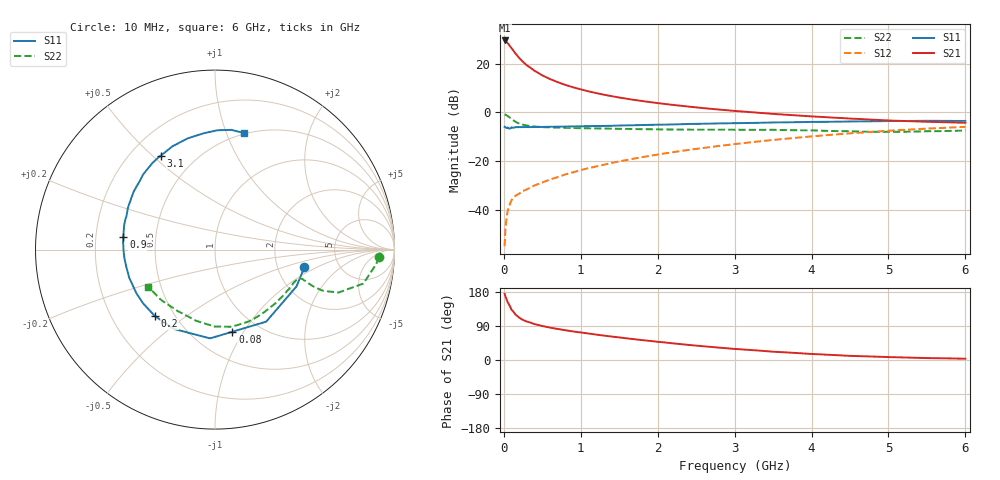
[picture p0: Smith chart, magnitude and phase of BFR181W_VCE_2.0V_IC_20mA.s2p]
! Infineon Technologies  Discrete & RF Semiconductors
! BFR181W
! VCE =  2.0 V,  IC =  20 mA
! Common Emitter S-Parameters:  Jan 2017
# GHz  S  MA  R  50
!  f  S11  S21  S12  S22
! GHz  MAG  ANG  MAG  ANG  MAG  ANG  MAG  ANG
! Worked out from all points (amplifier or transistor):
!   77 points, 10 MHz to 6 GHz, reference 50 ohm
!   highest |S21| = 29.5 dB at 10 MHz (marker M1)
!   |S21| within 3 dB of that: start of sweep to 95.91 MHz
!   unconditionally stable (mu >= 1): start of sweep to 11.37 MHz; 316.3 MHz to 2.981 GHz; 5.959 GHz to end of sweep
!   at 130 MHz: K = 0.58, MSG = 30.0 dB, |S12| = -34.9 dB
!   at 2.2 GHz: K = 1.13, MAG = 7.5 dB, |S12| = -16.3 dB
!   at 6 GHz: K = 1.00, MAG = 0.6 dB, |S12| = -5.9 dB
!   S11 on the Smith chart (normalised r, x): 10 MHz: 2.84, -0.75; 80 MHz: 0.76, -0.89; 200 MHz: 0.39, -0.39; 900 MHz: 0.32, +0.06; 3.1 GHz: 0.32, +0.53; 6 GHz: 0.49, +1.15
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0.01  0.5076 -11.2  29.98 174.8  0.0018 82.4  0.9153 -2.6
0.02  0.4983 -24.3  29.36 168.2  0.0039 84.8  0.9006 -5.3
0.05  0.4924 -54.6  26.62 152.3  0.0095 70.2  0.8481 -12.9
0.08  0.4676 -78.0  22.82 141.6  0.0132 62.6  0.7749 -16.4
0.1  0.4954 -93.2  20.86 132.5  0.0158 59.5  0.728 -19.2
0.15  0.4977 -117.3  16.3 120.2  0.0194 56.2  0.6433 -20.9
0.2  0.4995 -132.2  13.07 111.7  0.0216 55.1  0.5905 -20.6
0.25  0.5001 -143.2  10.88 105.7  0.0245 55.6  0.5596 -20.0
0.3  0.5009 -150.9  9.254 101.3  0.0263 57.4  0.5373 -19.3
0.4  0.5029 -161.8  7.129 94.6  0.0318 61.1  0.5137 -18.6
0.5  0.5038 -169.5  5.76 89.7  0.0365 64.4  0.5001 -18.6
0.6  0.5074 -175.2  4.842 85.5  0.042 65.9  0.4926 -19.0
0.7  0.5099 -180.0  4.174 81.9  0.0471 69.4  0.4869 -19.7
0.9  0.5158 172.0  3.276 75.4  0.059 72.1  0.4788 -22.0
1.1  0.5237 165.4  2.711 69.9  0.0718 74.4  0.4726 -24.8
1.3  0.5273 159.5  2.31 64.4  0.0845 75.2  0.4671 -28.1
1.5  0.5383 154.4  2.022 59.6  0.0989 76.2  0.4607 -31.6
2.1  0.5628 140.0  1.488 46.1  0.1447 75.4  0.4473 -44.4
3.1  0.6044 120.0  1.045 27.9  0.2331 69.3  0.4399 -68.4
4.1  0.6399 102.0  0.813 15.0  0.3317 59.6  0.423 -93.1
5.1  0.6659 87.5  0.675 7.2  0.4289 47.6  0.3999 -124.5
6  0.6691 76.1  0.613 3.5  0.5063 36.2  0.4255 -150.9
